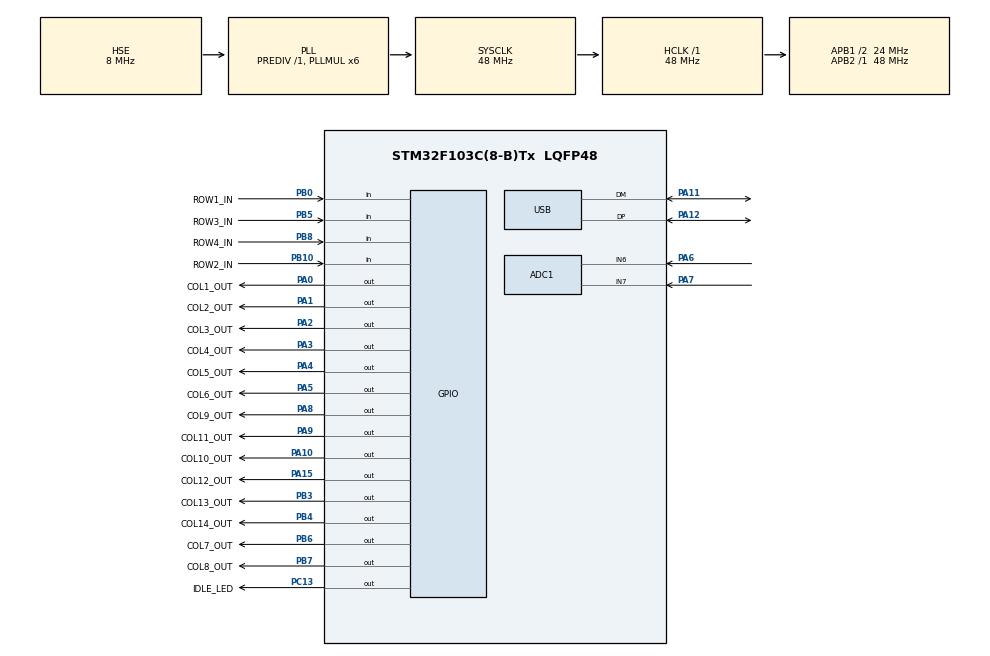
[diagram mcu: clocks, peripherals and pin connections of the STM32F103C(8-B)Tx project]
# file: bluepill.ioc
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Mcu.Family=STM32F1
USB_DEVICE.CLASS_NAME_FS=HID
PB10.GPIO_PuPd=GPIO_PULLDOWN
PA11.Mode=Device
PB0.GPIO_Label=ROW1_IN
PB6.GPIO_Label=COL7_OUT
RCC.SYSCLKSource=RCC_SYSCLKSOURCE_PLLCLK
ProjectManager.StackSize=0x400
PD1-OSC_OUT.Signal=RCC_OSC_OUT
USB_DEVICE.MANUFACTURER_STRING=Disciplined Design
USB_DEVICE.PID_HID_FS=0x0666
PA15.GPIO_Label=COL12_OUT
PA12.Signal=USB_DP
RCC.HCLKFreq_Value=48000000
RCC.APB2TimFreq_Value=48000000
TIM3.Period=50-1
PB6.Signal=GPIO_Output
Dma.ADC1.0.Direction=DMA_PERIPH_TO_MEMORY
ADC1.Channel-2\#ChannelRegularConversion=ADC_CHANNEL_7
Dma.ADC1.0.MemDataAlignment=DMA_MDATAALIGN_HALFWORD
RCC.AHBFreq_Value=48000000
RCC.PLLMUL=RCC_PLL_MUL6
ADC1.Rank-2\#ChannelRegularConversion=2
PA14.Mode=Serial_Wire
TIM3.Prescaler=4800-1
Dma.ADC1.0.PeriphInc=DMA_PINC_DISABLE
PA10.GPIO_Label=COL10_OUT
PB7.Signal=GPIO_Output
PA8.Signal=GPIO_Output
PB7.GPIO_Label=COL8_OUT
Mcu.Package=LQFP48
PA6.Signal=ADCx_IN6
PA2.GPIO_Label=COL3_OUT
PA10.Signal=GPIO_Output
PA15.Signal=GPIO_Output
PB5.GPIO_Label=ROW3_IN
RCC.APB1TimFreq_Value=48000000
Dma.Request0=ADC1
PA4.GPIO_Label=COL5_OUT
VP_TIM3_VS_ClockSourceINT.Mode=Internal
PB4.Signal=GPIO_Output
PA3.Signal=GPIO_Output
PB3.GPIO_Label=COL13_OUT
Dma.ADC1.0.Instance=DMA1_Channel1
PD1-OSC_OUT.Mode=HSE-External-Oscillator
USB_DEVICE.VirtualModeFS=Hid_FS
SH.ADCx_IN6.0=ADC1_IN6,IN6
PA9.GPIO_Label=COL11_OUT
PB8.GPIO_PuPd=GPIO_PULLDOWN
USB_DEVICE.PRODUCT_STRING_HID_FS=DD Keyboard
PC13-TAMPER-RTC.Signal=GPIO_Output
PD0-OSC_IN.Signal=RCC_OSC_IN
RCC.APB1CLKDivider=RCC_HCLK_DIV2
PC14-OSC32_IN.Signal=RCC_OSC32_IN
ADC1.SamplingTime-2\#ChannelRegularConversion=ADC_SAMPLETIME_239CYCLES_5
PA0-WKUP.GPIO_Label=COL1_OUT
PA0-WKUP.Signal=GPIO_Output
RCC.ADCPresc=RCC_ADCPCLK2_DIV4
PA13.Signal=SYS_JTMS-SWDIO
PB8.GPIO_Label=ROW4_IN
Dma.ADC1.0.PeriphDataAlignment=DMA_PDATAALIGN_HALFWORD
PA8.GPIO_Label=COL9_OUT
USB_DEVICE.VID=0xFEED
ProjectManager.TargetToolchain=Makefile
PB10.GPIO_Label=ROW2_IN
SH.ADCx_IN7.0=ADC1_IN7,IN7
Dma.ADC1.0.Mode=DMA_CIRCULAR
Dma.ADC1.0.Priority=DMA_PRIORITY_LOW
PA9.Signal=GPIO_Output
ADC1.Channel-1\#ChannelRegularConversion=ADC_CHANNEL_6
RCC.USBFreq_Value=48000000
PC15-OSC32_OUT.Signal=RCC_OSC32_OUT
PA1.Signal=GPIO_Output
PD0-OSC_IN.Mode=HSE-External-Oscillator
PB10.Signal=GPIO_Input
PA5.Signal=GPIO_Output
board=bluepill
PC13-TAMPER-RTC.GPIO_Label=IDLE_LED
VP_USB_DEVICE_VS_USB_DEVICE_HID_FS.Mode=HID_FS
RCC.APB2Freq_Value=48000000
PB4.GPIO_Label=COL14_OUT
NVIC.USB_LP_CAN1_RX0_IRQn=true\:0\:0\:false\:false\:true\:false\:true
PA1.GPIO_Label=COL2_OUT
ADC1.NbrOfConversion=2
PA13.Mode=Serial_Wire
Mcu.Name=STM32F103C(8-B)Tx
PA2.Signal=GPIO_Output
ADC1.ExternalTrigConv=ADC_EXTERNALTRIGCONV_T3_TRGO
PB3.Signal=GPIO_Output
PA4.Signal=GPIO_Output
ADC1.SamplingTime-1\#ChannelRegularConversion=ADC_SAMPLETIME_239CYCLES_5
RCC.SYSCLKFreq_VALUE=48000000
PB5.Signal=GPIO_Input
ADC1.master=1
PA12.Mode=Device
PA5.GPIO_Label=COL6_OUT
PB5.GPIO_PuPd=GPIO_PULLDOWN
ADC1.Rank-1\#ChannelRegularConversion=1
PA11.Signal=USB_DM
PA14.Signal=SYS_JTCK-SWCLK
Dma.ADC1.0.MemInc=DMA_MINC_ENABLE
ProjectManager.HeapSize=0x200
NVIC.PriorityGroup=NVIC_PRIORITYGROUP_4
ADC1.NbrOfConversionFlag=1
PB8.Signal=GPIO_Input
NVIC.DMA1_Channel1_IRQn=true\:0\:0\:false\:false\:true\:false\:true
TIM3.TIM_MasterOutputTrigger=TIM_TRGO_UPDATE
RCC.APB1Freq_Value=24000000
PB0.Signal=GPIO_Input
USB_DEVICE.VirtualMode=Hid
PB0.GPIO_PuPd=GPIO_PULLDOWN
PA3.GPIO_Label=COL4_OUT
PA7.Signal=ADCx_IN7

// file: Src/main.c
/* USER CODE BEGIN Header */
/**
  ******************************************************************************
  * @file           : main.c
  * @brief          : Main program body
  ******************************************************************************
  * @attention
  *
  * <h2><center>&copy; Copyright (c) 2019 STMicroelectronics.
  * All rights reserved.</center></h2>
  *
  * This software component is licensed by ST under BSD 3-Clause license,
  * the "License"; You may not use this file except in compliance with the
  * License. You may obtain a copy of the License at:
  *                        opensource.org/licenses/BSD-3-Clause
  *
  ******************************************************************************
  */
/* USER CODE END Header */
#include "main.h"
#include "usb_device.h"

/* USER CODE BEGIN Includes */
#include "esm/esm.h"
/* USER CODE END Includes */

ADC_HandleTypeDef hadc1;
DMA_HandleTypeDef hdma_adc1;

TIM_HandleTypeDef htim3;

/* USER CODE BEGIN PV */
/* Private variables ---------------------------------------------------------*/
uint16_t joystick_xy[2];
/* USER CODE END PV */

void SystemClock_Config(void);
static void MX_GPIO_Init(void);
static void MX_DMA_Init(void);
static void MX_ADC1_Init(void);
static void MX_TIM3_Init(void);
/* USER CODE BEGIN PFP */
/* Private function prototypes -----------------------------------------------*/

/* USER CODE END PFP */

int main(void)
{

  /* MCU Configuration--------------------------------------------------------*/

  /* Reset of all peripherals, Initializes the Flash interface and the Systick. */
  HAL_Init();

  /* USER CODE BEGIN Init */
  __HAL_RCC_USB_CLK_DISABLE();
  /* USER CODE END Init */

  /* Configure the system clock */
  SystemClock_Config();

  /* Initialize all configured peripherals */
  MX_GPIO_Init();
  MX_DMA_Init();
  MX_USB_DEVICE_Init();
  MX_ADC1_Init();
  MX_TIM3_Init();
  /* USER CODE BEGIN 2 */
  HAL_TIM_Base_Start(&htim3);
  HAL_ADC_Start_DMA(&hadc1, (uint32_t*)joystick_xy, 2);
  /* USER CODE END 2 */

  /* Infinite loop */
  /* USER CODE BEGIN WHILE */
  while (1)
  {
	  esm_process();
    /* USER CODE END WHILE */

  }
}

void SystemClock_Config(void)
{
  RCC_OscInitTypeDef RCC_OscInitStruct = {0};
  RCC_ClkInitTypeDef RCC_ClkInitStruct = {0};
  RCC_PeriphCLKInitTypeDef PeriphClkInit = {0};

  /** Initializes the RCC Oscillators according to the specified parameters
  * in the RCC_OscInitTypeDef structure.
  */
  RCC_OscInitStruct.OscillatorType = RCC_OSCILLATORTYPE_HSE;
  RCC_OscInitStruct.HSEState = RCC_HSE_ON;
  RCC_OscInitStruct.HSEPredivValue = RCC_HSE_PREDIV_DIV1;
  RCC_OscInitStruct.HSIState = RCC_HSI_ON;
  RCC_OscInitStruct.PLL.PLLState = RCC_PLL_ON;
  RCC_OscInitStruct.PLL.PLLSource = RCC_PLLSOURCE_HSE;
  RCC_OscInitStruct.PLL.PLLMUL = RCC_PLL_MUL6;
  if (HAL_RCC_OscConfig(&RCC_OscInitStruct) != HAL_OK)
  {
    Error_Handler();
  }
  /** Initializes the CPU, AHB and APB buses clocks
  */
  RCC_ClkInitStruct.ClockType = RCC_CLOCKTYPE_HCLK|RCC_CLOCKTYPE_SYSCLK
                              |RCC_CLOCKTYPE_PCLK1|RCC_CLOCKTYPE_PCLK2;
  RCC_ClkInitStruct.SYSCLKSource = RCC_SYSCLKSOURCE_PLLCLK;
  RCC_ClkInitStruct.AHBCLKDivider = RCC_SYSCLK_DIV1;
  RCC_ClkInitStruct.APB1CLKDivider = RCC_HCLK_DIV2;
  RCC_ClkInitStruct.APB2CLKDivider = RCC_HCLK_DIV1;

  if (HAL_RCC_ClockConfig(&RCC_ClkInitStruct, FLASH_LATENCY_1) != HAL_OK)
  {
    Error_Handler();
  }
  PeriphClkInit.PeriphClockSelection = RCC_PERIPHCLK_ADC|RCC_PERIPHCLK_USB;
  PeriphClkInit.AdcClockSelection = RCC_ADCPCLK2_DIV4;
  PeriphClkInit.UsbClockSelection = RCC_USBCLKSOURCE_PLL;
  if (HAL_RCCEx_PeriphCLKConfig(&PeriphClkInit) != HAL_OK)
  {
    Error_Handler();
  }
}

static void MX_ADC1_Init(void)
{

  ADC_ChannelConfTypeDef sConfig = {0};

  /** Common config
  */
  hadc1.Instance = ADC1;
  hadc1.Init.ScanConvMode = ADC_SCAN_ENABLE;
  hadc1.Init.ContinuousConvMode = DISABLE;
  hadc1.Init.DiscontinuousConvMode = DISABLE;
  hadc1.Init.ExternalTrigConv = ADC_EXTERNALTRIGCONV_T3_TRGO;
  hadc1.Init.DataAlign = ADC_DATAALIGN_RIGHT;
  hadc1.Init.NbrOfConversion = 2;
  if (HAL_ADC_Init(&hadc1) != HAL_OK)
  {
    Error_Handler();
  }
  /** Configure Regular Channel
  */
  sConfig.Channel = ADC_CHANNEL_6;
  sConfig.Rank = ADC_REGULAR_RANK_1;
  sConfig.SamplingTime = ADC_SAMPLETIME_239CYCLES_5;
  if (HAL_ADC_ConfigChannel(&hadc1, &sConfig) != HAL_OK)
  {
    Error_Handler();
  }
  /** Configure Regular Channel
  */
  sConfig.Channel = ADC_CHANNEL_7;
  sConfig.Rank = ADC_REGULAR_RANK_2;
  if (HAL_ADC_ConfigChannel(&hadc1, &sConfig) != HAL_OK)
  {
    Error_Handler();
  }

}

static void MX_TIM3_Init(void)
{

  TIM_ClockConfigTypeDef sClockSourceConfig = {0};
  TIM_MasterConfigTypeDef sMasterConfig = {0};

  htim3.Instance = TIM3;
  htim3.Init.Prescaler = 4800-1;
  htim3.Init.CounterMode = TIM_COUNTERMODE_UP;
  htim3.Init.Period = 50-1;
  htim3.Init.ClockDivision = TIM_CLOCKDIVISION_DIV1;
  htim3.Init.AutoReloadPreload = TIM_AUTORELOAD_PRELOAD_DISABLE;
  if (HAL_TIM_Base_Init(&htim3) != HAL_OK)
  {
    Error_Handler();
  }
  sClockSourceConfig.ClockSource = TIM_CLOCKSOURCE_INTERNAL;
  if (HAL_TIM_ConfigClockSource(&htim3, &sClockSourceConfig) != HAL_OK)
  {
    Error_Handler();
  }
  sMasterConfig.MasterOutputTrigger = TIM_TRGO_UPDATE;
  sMasterConfig.MasterSlaveMode = TIM_MASTERSLAVEMODE_DISABLE;
  if (HAL_TIMEx_MasterConfigSynchronization(&htim3, &sMasterConfig) != HAL_OK)
  {
    Error_Handler();
  }

}

static void MX_DMA_Init(void)
{

  /* DMA controller clock enable */
  __HAL_RCC_DMA1_CLK_ENABLE();

  /* DMA interrupt init */
  /* DMA1_Channel1_IRQn interrupt configuration */
  HAL_NVIC_SetPriority(DMA1_Channel1_IRQn, 0, 0);
  HAL_NVIC_EnableIRQ(DMA1_Channel1_IRQn);

}

static void MX_GPIO_Init(void)
{
  GPIO_InitTypeDef GPIO_InitStruct = {0};

  /* GPIO Ports Clock Enable */
  __HAL_RCC_GPIOC_CLK_ENABLE();
  __HAL_RCC_GPIOD_CLK_ENABLE();
  __HAL_RCC_GPIOA_CLK_ENABLE();
  __HAL_RCC_GPIOB_CLK_ENABLE();

  /*Configure GPIO pin Output Level */
  HAL_GPIO_WritePin(IDLE_LED_GPIO_Port, IDLE_LED_Pin, GPIO_PIN_RESET);

  /*Configure GPIO pin Output Level */
  HAL_GPIO_WritePin(GPIOA, COL1_OUT_Pin|COL2_OUT_Pin|COL3_OUT_Pin|COL4_OUT_Pin
                          |COL5_OUT_Pin|COL6_OUT_Pin|COL9_OUT_Pin|COL11_OUT_Pin
                          |COL10_OUT_Pin|COL12_OUT_Pin, GPIO_PIN_RESET);

  /*Configure GPIO pin Output Level */
  HAL_GPIO_WritePin(GPIOB, COL13_OUT_Pin|COL14_OUT_Pin|COL7_OUT_Pin|COL8_OUT_Pin, GPIO_PIN_RESET);

  /*Configure GPIO pin : IDLE_LED_Pin */
  GPIO_InitStruct.Pin = IDLE_LED_Pin;
  GPIO_InitStruct.Mode = GPIO_MODE_OUTPUT_PP;
  GPIO_InitStruct.Pull = GPIO_NOPULL;
  GPIO_InitStruct.Speed = GPIO_SPEED_FREQ_LOW;
  HAL_GPIO_Init(IDLE_LED_GPIO_Port, &GPIO_InitStruct);

  /*Configure GPIO pins : COL1_OUT_Pin COL2_OUT_Pin COL3_OUT_Pin COL4_OUT_Pin
                           COL5_OUT_Pin COL6_OUT_Pin COL9_OUT_Pin COL11_OUT_Pin
                           COL10_OUT_Pin COL12_OUT_Pin */
  GPIO_InitStruct.Pin = COL1_OUT_Pin|COL2_OUT_Pin|COL3_OUT_Pin|COL4_OUT_Pin
                          |COL5_OUT_Pin|COL6_OUT_Pin|COL9_OUT_Pin|COL11_OUT_Pin
                          |COL10_OUT_Pin|COL12_OUT_Pin;
  GPIO_InitStruct.Mode = GPIO_MODE_OUTPUT_PP;
  GPIO_InitStruct.Pull = GPIO_NOPULL;
  GPIO_InitStruct.Speed = GPIO_SPEED_FREQ_LOW;
  HAL_GPIO_Init(GPIOA, &GPIO_InitStruct);

  /*Configure GPIO pins : ROW1_IN_Pin ROW2_IN_Pin ROW3_IN_Pin ROW4_IN_Pin */
  GPIO_InitStruct.Pin = ROW1_IN_Pin|ROW2_IN_Pin|ROW3_IN_Pin|ROW4_IN_Pin;
  GPIO_InitStruct.Mode = GPIO_MODE_INPUT;
  GPIO_InitStruct.Pull = GPIO_PULLDOWN;
  HAL_GPIO_Init(GPIOB, &GPIO_InitStruct);

  /*Configure GPIO pins : COL13_OUT_Pin COL14_OUT_Pin COL7_OUT_Pin COL8_OUT_Pin */
  GPIO_InitStruct.Pin = COL13_OUT_Pin|COL14_OUT_Pin|COL7_OUT_Pin|COL8_OUT_Pin;
  GPIO_InitStruct.Mode = GPIO_MODE_OUTPUT_PP;
  GPIO_InitStruct.Pull = GPIO_NOPULL;
  GPIO_InitStruct.Speed = GPIO_SPEED_FREQ_LOW;
  HAL_GPIO_Init(GPIOB, &GPIO_InitStruct);

}

/* USER CODE BEGIN 4 */
void HAL_ADC_ConvCpltCallback(ADC_HandleTypeDef *hadc)
{
  if (hadc->Instance == hadc1.Instance)
  {
    int8_t x = (int16_t)(joystick_xy[0] >> 4) - 127;
    int8_t y = (int16_t)(joystick_xy[1] >> 4) - 127;

    x /= 10;
    y /= 10;

    if ((x != 0) || (y != 0))
    {
      esm_signal_t s = {
          .type = esm_sig_pointer,
          .params.pointer = {
              .btns = 0,
              .x = x,
              .y = y},
          .sender = NULL,
          .receiver = keyboard_esm};

      esm_send_signal(&s);
    }
  }
}
/* USER CODE END 4 */

void Error_Handler(void)
{
  while(1)
  {
  }
}

/************************ (C) COPYRIGHT STMicroelectronics *****END OF FILE****/
